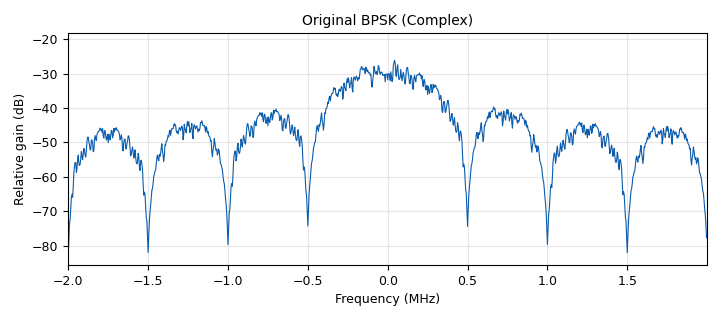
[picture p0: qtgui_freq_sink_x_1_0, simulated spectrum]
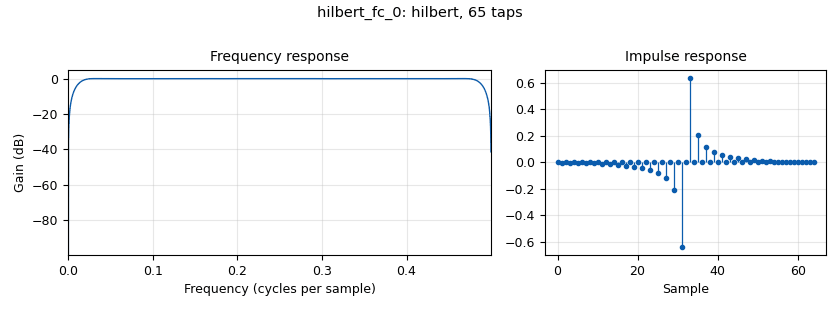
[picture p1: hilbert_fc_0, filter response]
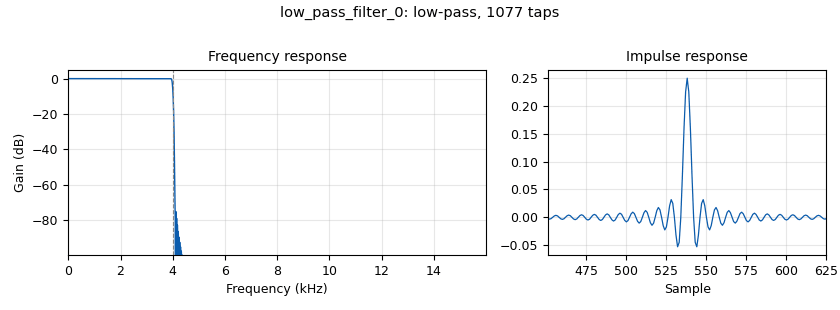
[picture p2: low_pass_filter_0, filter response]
<?xml version='1.0' encoding='utf-8'?>
<?grc format='1' created='3.7.9'?>
<flow_graph>
<block>
<key>options</key>
<param><key>id</key><value>top_block</value></param>
<param><key>category</key><value>Custom</value></param>
<param><key>generate_options</key><value>qt_gui</value></param>
</block>
<block>
<key>variable_qtgui_range</key>
<param><key>id</key><value>analog_cent_freq</value></param>
<param><key>value</key><value>1.25e6</value></param>
<param><key>orient</key><value>Qt.Horizontal</value></param>
<param><key>start</key><value>0</value></param>
<param><key>step</key><value>0.1e6</value></param>
<param><key>stop</key><value>2e6</value></param>
</block>
<block>
<key>variable_qtgui_range</key>
<param><key>id</key><value>noise_var</value></param>
<param><key>value</key><value>0</value></param>
<param><key>orient</key><value>Qt.Horizontal</value></param>
<param><key>start</key><value>0</value></param>
<param><key>step</key><value>0.01</value></param>
<param><key>stop</key><value>0.25</value></param>
</block>
<block>
<key>variable</key>
<param><key>id</key><value>samp_rate</value></param>
<param><key>value</key><value>4000000</value></param>
</block>
<block>
<key>variable</key>
<param><key>id</key><value>samps_per_symb</value></param>
<param><key>value</key><value>samp_rate / symb_rate</value></param>
</block>
<block>
<key>variable</key>
<param><key>id</key><value>symb_rate</value></param>
<param><key>value</key><value>500000</value></param>
</block>
<block>
<key>variable_qtgui_range</key>
<param><key>id</key><value>voice_vol</value></param>
<param><key>value</key><value>1</value></param>
<param><key>orient</key><value>Qt.Horizontal</value></param>
<param><key>start</key><value>0</value></param>
<param><key>step</key><value>0.1</value></param>
<param><key>stop</key><value>10</value></param>
</block>
<block>
<key>analog_noise_source_x</key>
<param><key>id</key><value>analog_noise_source_x_0</value></param>
<param><key>amp</key><value>noise_var</value></param>
<param><key>noise_type</key><value>analog.GR_GAUSSIAN</value></param>
<param><key>type</key><value>float</value></param>
<param><key>seed</key><value>0</value></param>
</block>
<block>
<key>analog_rail_ff</key>
<param><key>id</key><value>analog_rail_ff_0</value></param>
<param><key>hi</key><value>1</value></param>
<param><key>lo</key><value>-1</value></param>
</block>
<block>
<key>analog_random_source_x</key>
<param><key>id</key><value>analog_random_source_x_0</value></param>
<param><key>max</key><value>256</value></param>
<param><key>min</key><value>0</value></param>
<param><key>num_samps</key><value>1000000</value></param>
<param><key>type</key><value>byte</value></param>
<param><key>repeat</key><value>True</value></param>
</block>
<block>
<key>analog_sig_source_x</key>
<param><key>id</key><value>analog_sig_source_x_0</value></param>
<param><key>amp</key><value>1</value></param>
<param><key>freq</key><value>-analog_cent_freq</value></param>
<param><key>offset</key><value>0</value></param>
<param><key>type</key><value>complex</value></param>
<param><key>samp_rate</key><value>samp_rate</value></param>
<param><key>waveform</key><value>analog.GR_COS_WAVE</value></param>
</block>
<block>
<key>analog_sig_source_x</key>
<param><key>id</key><value>analog_sig_source_x_1_1</value></param>
<param><key>amp</key><value>1.0/5.0</value></param>
<param><key>freq</key><value>analog_cent_freq</value></param>
<param><key>offset</key><value>0</value></param>
<param><key>type</key><value>float</value></param>
<param><key>samp_rate</key><value>samp_rate</value></param>
<param><key>waveform</key><value>analog.GR_COS_WAVE</value></param>
</block>
<block>
<key>audio_sink</key>
<param><key>id</key><value>audio_sink_0</value></param>
<param><key>samp_rate</key><value>8000</value></param>
</block>
<block>
<key>blocks_add_const_vxx</key>
<param><key>id</key><value>blocks_add_const_vxx_0</value></param>
<param><key>const</key><value>1</value></param>
<param><key>type</key><value>float</value></param>
</block>
<block>
<key>blocks_add_xx</key>
<param><key>id</key><value>blocks_add_xx_0</value></param>
<param><key>type</key><value>float</value></param>
</block>
<block>
<key>blocks_add_xx</key>
<param><key>id</key><value>blocks_add_xx_1</value></param>
<param><key>type</key><value>float</value></param>
</block>
<block>
<key>blocks_complex_to_float</key>
<param><key>id</key><value>blocks_complex_to_float_0</value></param>
</block>
<block>
<key>blocks_complex_to_mag_squared</key>
<param><key>id</key><value>blocks_complex_to_mag_squared_0</value></param>
</block>
<block>
<key>blocks_complex_to_real</key>
<param><key>id</key><value>blocks_complex_to_real_0</value></param>
</block>
<block>
<key>blocks_delay</key>
<param><key>id</key><value>blocks_delay_0</value></param>
<param><key>delay</key><value>samps_per_symb/2</value></param>
<param><key>type</key><value>float</value></param>
</block>
<block>
<key>blocks_float_to_complex</key>
<param><key>id</key><value>blocks_float_to_complex_0</value></param>
</block>
<block>
<key>blocks_multiply_const_vxx</key>
<param><key>id</key><value>blocks_multiply_const_vxx_0</value></param>
<param><key>const</key><value>1</value></param>
<param><key>type</key><value>float</value></param>
</block>
<block>
<key>blocks_multiply_const_vxx</key>
<param><key>id</key><value>blocks_multiply_const_vxx_1</value></param>
<param><key>const</key><value>voice_vol</value></param>
<param><key>type</key><value>float</value></param>
</block>
<block>
<key>blocks_multiply_xx</key>
<param><key>id</key><value>blocks_multiply_xx_1</value></param>
<param><key>type</key><value>complex</value></param>
</block>
<block>
<key>blocks_multiply_xx</key>
<param><key>id</key><value>blocks_multiply_xx_2</value></param>
<param><key>type</key><value>float</value></param>
</block>
<block>
<key>blocks_packed_to_unpacked_xx</key>
<param><key>id</key><value>blocks_packed_to_unpacked_xx_0</value></param>
<param><key>bits_per_chunk</key><value>2</value></param>
<param><key>endianness</key><value>gr.GR_MSB_FIRST</value></param>
<param><key>type</key><value>byte</value></param>
</block>
<block>
<key>blocks_repeat</key>
<param><key>id</key><value>blocks_repeat_0</value></param>
<param><key>interp</key><value>samps_per_symb</value></param>
<param><key>type</key><value>complex</value></param>
</block>
<block>
<key>blocks_throttle</key>
<param><key>id</key><value>blocks_throttle_0</value></param>
<param><key>samples_per_second</key><value>samp_rate</value></param>
<param><key>type</key><value>float</value></param>
</block>
<block>
<key>blocks_wavfile_source</key>
<param><key>id</key><value>blocks_wavfile_source_0</value></param>
<param><key>file</key><value>/home/hume/Desktop/AMSATDemos/NeroSoundTrax_test3_PCM_Mono_CBR_8SS_8000Hz.wav</value></param>
<param><key>repeat</key><value>True</value></param>
</block>
<block>
<key>dc_blocker_xx</key>
<param><key>id</key><value>dc_blocker_xx_0</value></param>
<param><key>length</key><value>256</value></param>
<param><key>long_form</key><value>True</value></param>
<param><key>type</key><value>ff</value></param>
</block>
<block>
<key>digital_chunks_to_symbols_xx</key>
<param><key>id</key><value>digital_chunks_to_symbols_xx_0</value></param>
<param><key>dimension</key><value>1</value></param>
<param><key>in_type</key><value>byte</value></param>
<param><key>out_type</key><value>complex</value></param>
<param><key>symbol_table</key><value>[1/sqrt(2)+1j/sqrt(2),1/sqrt(2)-1j/sqrt(2),-1/sqrt(2)+1j/sqrt(2),-1/sqrt(2)-1j/sqrt(2)]</value></param>
</block>
<block>
<key>hilbert_fc</key>
<param><key>id</key><value>hilbert_fc_0</value></param>
<param><key>num_taps</key><value>64</value></param>
<param><key>win</key><value>firdes.WIN_HAMMING</value></param>
</block>
<block>
<key>import</key>
<param><key>id</key><value>import_0</value></param>
<param><key>import</key><value>from math import sqrt</value></param>
</block>
<block>
<key>low_pass_filter</key>
<param><key>id</key><value>low_pass_filter_0</value></param>
<param><key>cutoff_freq</key><value>4000</value></param>
<param><key>decim</key><value>4</value></param>
<param><key>type</key><value>fir_filter_fff</value></param>
<param><key>gain</key><value>1</value></param>
<param><key>samp_rate</key><value>32000</value></param>
<param><key>width</key><value>100</value></param>
<param><key>win</key><value>firdes.WIN_BLACKMAN</value></param>
</block>
<block>
<key>qtgui_freq_sink_x</key>
<param><key>id</key><value>qtgui_freq_sink_x_0</value></param>
<param><key>autoscale</key><value>True</value></param>
<param><key>bw</key><value>8000</value></param>
<param><key>fc</key><value>0</value></param>
<param><key>fftsize</key><value>1024</value></param>
<param><key>gui_hint</key><value>0,2,2,2</value></param>
<param><key>legend</key><value>False</value></param>
<param><key>name</key><value>"Original Voice (Real)"</value></param>
<param><key>showports</key><value>True</value></param>
<param><key>type</key><value>float</value></param>
<param><key>wintype</key><value>firdes.WIN_BLACKMAN_hARRIS</value></param>
</block>
<block>
<key>qtgui_freq_sink_x</key>
<param><key>id</key><value>qtgui_freq_sink_x_1</value></param>
<param><key>autoscale</key><value>True</value></param>
<param><key>bw</key><value>samp_rate</value></param>
<param><key>fc</key><value>0</value></param>
<param><key>fftsize</key><value>1024</value></param>
<param><key>gui_hint</key><value>2,0,2,2</value></param>
<param><key>legend</key><value>False</value></param>
<param><key>name</key><value>"Combined and Limited (Real)"</value></param>
<param><key>showports</key><value>True</value></param>
<param><key>type</key><value>float</value></param>
<param><key>wintype</key><value>firdes.WIN_BLACKMAN_hARRIS</value></param>
</block>
<block>
<key>qtgui_freq_sink_x</key>
<param><key>id</key><value>qtgui_freq_sink_x_1_0</value></param>
<param><key>autoscale</key><value>True</value></param>
<param><key>average</key><value>0.05</value></param>
<param><key>bw</key><value>samp_rate</value></param>
<param><key>fc</key><value>0</value></param>
<param><key>fftsize</key><value>1024</value></param>
<param><key>gui_hint</key><value>0,0,2,2</value></param>
<param><key>legend</key><value>False</value></param>
<param><key>name</key><value>"Original BPSK (Complex)"</value></param>
<param><key>showports</key><value>True</value></param>
<param><key>type</key><value>complex</value></param>
<param><key>wintype</key><value>firdes.WIN_BLACKMAN_hARRIS</value></param>
</block>
<block>
<key>qtgui_freq_sink_x</key>
<param><key>id</key><value>qtgui_freq_sink_x_1_0_0</value></param>
<param><key>autoscale</key><value>True</value></param>
<param><key>bw</key><value>samp_rate / 500</value></param>
<param><key>fc</key><value>0</value></param>
<param><key>fftsize</key><value>1024</value></param>
<param><key>gui_hint</key><value>2,2,2,2</value></param>
<param><key>legend</key><value>False</value></param>
<param><key>name</key><value>"Distorted Received"</value></param>
<param><key>showports</key><value>True</value></param>
<param><key>type</key><value>float</value></param>
<param><key>wintype</key><value>firdes.WIN_BLACKMAN_hARRIS</value></param>
</block>
<block>
<key>rational_resampler_xxx</key>
<param><key>id</key><value>rational_resampler_xxx_0</value></param>
<param><key>decim</key><value>1</value></param>
<param><key>interp</key><value>samp_rate / 8000</value></param>
<param><key>taps</key><value></value></param>
<param><key>type</key><value>fff</value></param>
</block>
<block>
<key>rational_resampler_xxx</key>
<param><key>id</key><value>rational_resampler_xxx_0_0</value></param>
<param><key>decim</key><value>samp_rate / 32000</value></param>
<param><key>interp</key><value>1</value></param>
<param><key>taps</key><value></value></param>
<param><key>type</key><value>ccc</value></param>
</block>
<connection><source_block_id>analog_noise_source_x_0</source_block_id><sink_block_id>blocks_add_xx_1</sink_block_id><source_key>0</source_key><sink_key>0</sink_key></connection>
<connection><source_block_id>analog_rail_ff_0</source_block_id><sink_block_id>blocks_add_xx_1</sink_block_id><source_key>0</source_key><sink_key>1</sink_key></connection>
<connection><source_block_id>analog_random_source_x_0</source_block_id><sink_block_id>blocks_packed_to_unpacked_xx_0</sink_block_id><source_key>0</source_key><sink_key>0</sink_key></connection>
<connection><source_block_id>analog_sig_source_x_0</source_block_id><sink_block_id>blocks_multiply_xx_1</sink_block_id><source_key>0</source_key><sink_key>0</sink_key></connection>
<connection><source_block_id>analog_sig_source_x_1_1</source_block_id><sink_block_id>blocks_multiply_xx_2</sink_block_id><source_key>0</source_key><sink_key>1</sink_key></connection>
<connection><source_block_id>blocks_add_const_vxx_0</source_block_id><sink_block_id>blocks_multiply_xx_2</sink_block_id><source_key>0</source_key><sink_key>0</sink_key></connection>
<connection><source_block_id>blocks_add_xx_0</source_block_id><sink_block_id>blocks_throttle_0</sink_block_id><source_key>0</source_key><sink_key>0</sink_key></connection>
<connection><source_block_id>blocks_add_xx_1</source_block_id><sink_block_id>hilbert_fc_0</sink_block_id><source_key>0</source_key><sink_key>0</sink_key></connection>
<connection><source_block_id>blocks_add_xx_1</source_block_id><sink_block_id>qtgui_freq_sink_x_1</sink_block_id><source_key>0</source_key><sink_key>0</sink_key></connection>
<connection><source_block_id>blocks_complex_to_float_0</source_block_id><sink_block_id>blocks_delay_0</sink_block_id><source_key>1</source_key><sink_key>0</sink_key></connection>
<connection><source_block_id>blocks_complex_to_float_0</source_block_id><sink_block_id>blocks_float_to_complex_0</sink_block_id><source_key>0</source_key><sink_key>0</sink_key></connection>
<connection><source_block_id>blocks_complex_to_mag_squared_0</source_block_id><sink_block_id>low_pass_filter_0</sink_block_id><source_key>0</source_key><sink_key>0</sink_key></connection>
<connection><source_block_id>blocks_complex_to_real_0</source_block_id><sink_block_id>blocks_add_xx_0</sink_block_id><source_key>0</source_key><sink_key>0</sink_key></connection>
<connection><source_block_id>blocks_delay_0</source_block_id><sink_block_id>blocks_float_to_complex_0</sink_block_id><source_key>0</source_key><sink_key>1</sink_key></connection>
<connection><source_block_id>blocks_float_to_complex_0</source_block_id><sink_block_id>blocks_complex_to_real_0</sink_block_id><source_key>0</source_key><sink_key>0</sink_key></connection>
<connection><source_block_id>blocks_float_to_complex_0</source_block_id><sink_block_id>qtgui_freq_sink_x_1_0</sink_block_id><source_key>0</source_key><sink_key>0</sink_key></connection>
<connection><source_block_id>blocks_multiply_const_vxx_0</source_block_id><sink_block_id>blocks_add_const_vxx_0</sink_block_id><source_key>0</source_key><sink_key>0</sink_key></connection>
<connection><source_block_id>blocks_multiply_const_vxx_1</source_block_id><sink_block_id>audio_sink_0</sink_block_id><source_key>0</source_key><sink_key>0</sink_key></connection>
<connection><source_block_id>blocks_multiply_xx_1</source_block_id><sink_block_id>rational_resampler_xxx_0_0</sink_block_id><source_key>0</source_key><sink_key>0</sink_key></connection>
<connection><source_block_id>blocks_multiply_xx_2</source_block_id><sink_block_id>blocks_add_xx_0</sink_block_id><source_key>0</source_key><sink_key>1</sink_key></connection>
<connection><source_block_id>blocks_packed_to_unpacked_xx_0</source_block_id><sink_block_id>digital_chunks_to_symbols_xx_0</sink_block_id><source_key>0</source_key><sink_key>0</sink_key></connection>
<connection><source_block_id>blocks_repeat_0</source_block_id><sink_block_id>blocks_complex_to_float_0</sink_block_id><source_key>0</source_key><sink_key>0</sink_key></connection>
<connection><source_block_id>blocks_throttle_0</source_block_id><sink_block_id>analog_rail_ff_0</sink_block_id><source_key>0</source_key><sink_key>0</sink_key></connection>
<connection><source_block_id>blocks_wavfile_source_0</source_block_id><sink_block_id>qtgui_freq_sink_x_0</sink_block_id><source_key>0</source_key><sink_key>0</sink_key></connection>
<connection><source_block_id>blocks_wavfile_source_0</source_block_id><sink_block_id>rational_resampler_xxx_0</sink_block_id><source_key>0</source_key><sink_key>0</sink_key></connection>
<connection><source_block_id>dc_blocker_xx_0</source_block_id><sink_block_id>blocks_multiply_const_vxx_1</sink_block_id><source_key>0</source_key><sink_key>0</sink_key></connection>
<connection><source_block_id>dc_blocker_xx_0</source_block_id><sink_block_id>qtgui_freq_sink_x_1_0_0</sink_block_id><source_key>0</source_key><sink_key>0</sink_key></connection>
<connection><source_block_id>digital_chunks_to_symbols_xx_0</source_block_id><sink_block_id>blocks_repeat_0</sink_block_id><source_key>0</source_key><sink_key>0</sink_key></connection>
<connection><source_block_id>hilbert_fc_0</source_block_id><sink_block_id>blocks_multiply_xx_1</sink_block_id><source_key>0</source_key><sink_key>1</sink_key></connection>
<connection><source_block_id>low_pass_filter_0</source_block_id><sink_block_id>dc_blocker_xx_0</sink_block_id><source_key>0</source_key><sink_key>0</sink_key></connection>
<connection><source_block_id>rational_resampler_xxx_0</source_block_id><sink_block_id>blocks_multiply_const_vxx_0</sink_block_id><source_key>0</source_key><sink_key>0</sink_key></connection>
<connection><source_block_id>rational_resampler_xxx_0_0</source_block_id><sink_block_id>blocks_complex_to_mag_squared_0</sink_block_id><source_key>0</source_key><sink_key>0</sink_key></connection>
</flow_graph>
